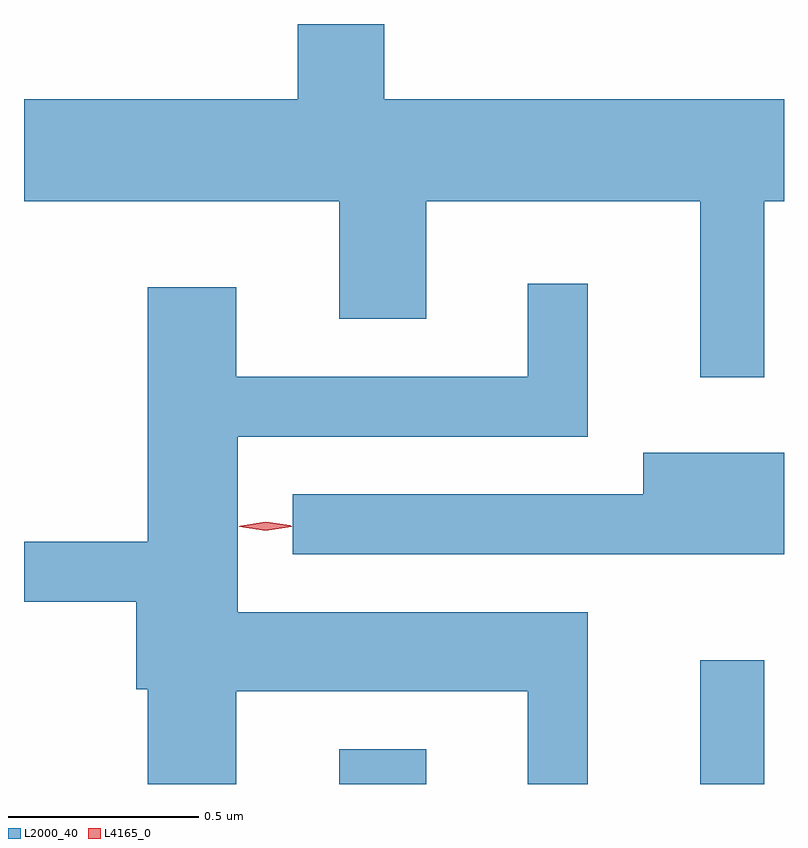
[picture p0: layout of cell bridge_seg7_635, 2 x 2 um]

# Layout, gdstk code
import gdstk
lib = gdstk.Library(unit=1e-6, precision=1e-09)
def R(c, l, rs):  # rectangles x0, y0, x1, y1
    for r in rs: c.add(gdstk.rectangle(r[:2], r[2:], *l))
def P(c, l, *ps):  # polygons
    for p in ps: c.add(gdstk.Polygon(p, *l))
L2000_40 = (2000, 40)
L4165_0 = (4165, 0)

bridge_seg7_635 = lib.new_cell('bridge_seg7_635')
R(bridge_seg7_635, L2000_40, [(757.481,1701.682,757.709,1701.774), (758.431,1701.682,758.599,1702.008)])
P(bridge_seg7_635, L2000_40, [(758.599,1703.216),(758.651,1703.216),(758.651,1703.484),(757.599,1703.484),(757.599,1703.682),(757.371,1703.682),(757.371,1703.484),(756.651,1703.484),(756.651,1703.216),(757.481,1703.216),(757.481,1702.906),(757.709,1702.906),(757.709,1703.216),(758.431,1703.216),(758.431,1702.753),(758.599,1702.753)],
  [(757.209,1701.926),(757.976,1701.926),(757.976,1701.682),(758.134,1701.682),(758.134,1702.134),(757.214,1702.134),(757.214,1702.596),(758.134,1702.596),(758.134,1702.998),(757.976,1702.998),(757.976,1702.754),(757.209,1702.754),(757.209,1702.989),(756.976,1702.989),(756.976,1702.319),(756.651,1702.319),(756.651,1702.161),(756.946,1702.161),(756.946,1701.931),(756.976,1701.931),(756.976,1701.682),(757.209,1701.682)],
  [(758.651,1702.554),(758.281,1702.554),(758.281,1702.444),(757.358,1702.444),(757.358,1702.286),(758.651,1702.286)])
P(bridge_seg7_635, L4165_0, [(757.287,1702.349),(757.217,1702.359),(757.217,1702.359),(757.217,1702.36),(757.286,1702.369),(757.356,1702.36),(757.356,1702.36),(757.356,1702.359)],
  [(757.287,1702.352),(757.222,1702.361),(757.221,1702.362),(757.222,1702.362),(757.287,1702.372),(757.352,1702.363),(757.353,1702.362),(757.352,1702.362)])

lib.write_gds('bridge_seg7_635.gds')
